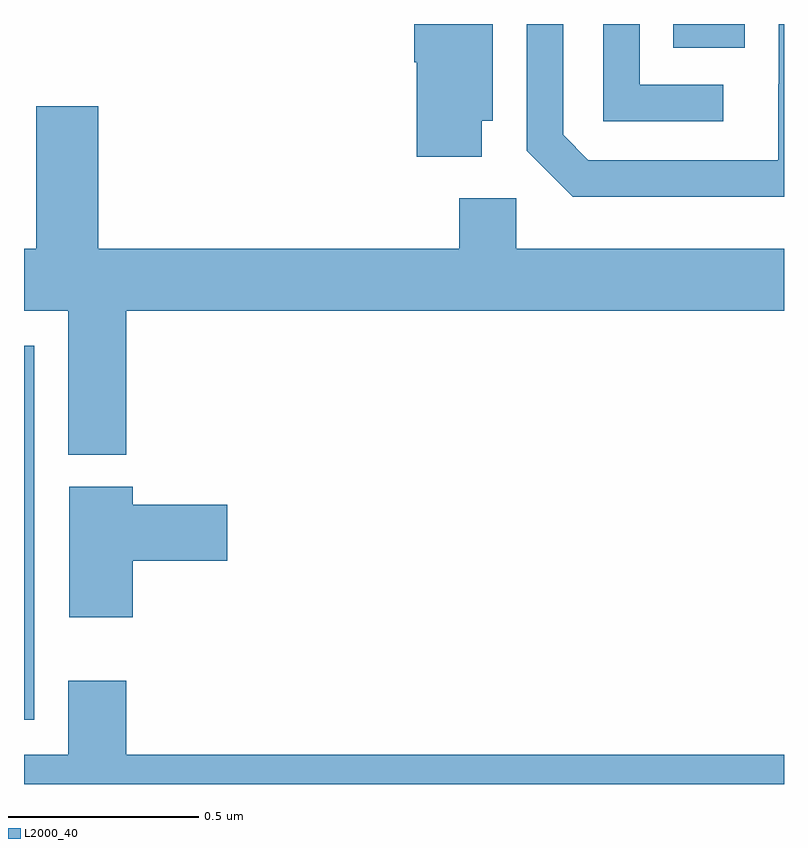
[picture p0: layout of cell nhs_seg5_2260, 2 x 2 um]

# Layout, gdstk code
import gdstk
lib = gdstk.Library(unit=1e-6, precision=1e-09)
def R(c, l, rs):  # rectangles x0, y0, x1, y1
    for r in rs: c.add(gdstk.rectangle(r[:2], r[2:], *l))
def P(c, l, *ps):  # polygons
    for p in ps: c.add(gdstk.Polygon(p, *l))
L2000_40 = (2000, 40)

nhs_seg5_2260 = lib.new_cell('nhs_seg5_2260')
R(nhs_seg5_2260, L2000_40, [(141,904.968,141.027,905.952), (142.709,906.737,142.897,906.799)])
P(nhs_seg5_2260, L2000_40, [(142.84,906.639),(142.62,906.639),(142.62,906.799),(142.524,906.799),(142.524,906.543),(142.84,906.543)],
  [(142.204,906.545),(142.234,906.545),(142.234,906.799),(142.027,906.799),(142.027,906.698),(142.034,906.698),(142.034,906.45),(142.204,906.45)],
  [(143,906.799),(142.986,906.799),(142.986,906.641),(142.985,906.641),(142.985,906.441),(142.485,906.441),(142.419,906.507),(142.419,906.799),(142.323,906.799),(142.323,906.465),(142.444,906.344),(143,906.344)],
  [(141.269,906.044),(143,906.044),(143,906.208),(142.296,906.208),(142.296,906.34),(142.145,906.34),(142.145,906.208),(141.196,906.208),(141.196,906.583),(141.032,906.583),(141.032,906.208),(141,906.208),(141,906.044),(141.116,906.044),(141.116,905.666),(141.269,905.666)],
  [(141.286,905.387),(141.535,905.387),(141.535,905.534),(141.286,905.534),(141.286,905.581),(141.119,905.581),(141.119,905.238),(141.286,905.238)],
  [(143,904.876),(141.269,904.876),(141.269,905.071),(141.116,905.071),(141.116,904.876),(141,904.876),(141,904.799),(143,904.799)])

lib.write_gds('nhs_seg5_2260.gds')
